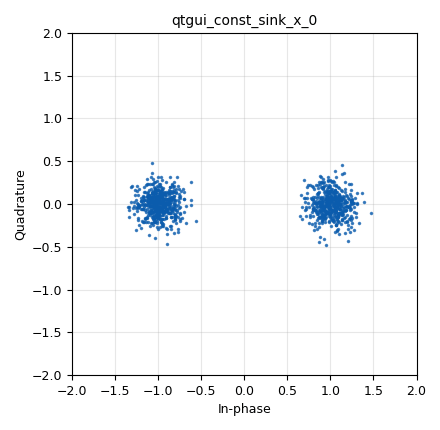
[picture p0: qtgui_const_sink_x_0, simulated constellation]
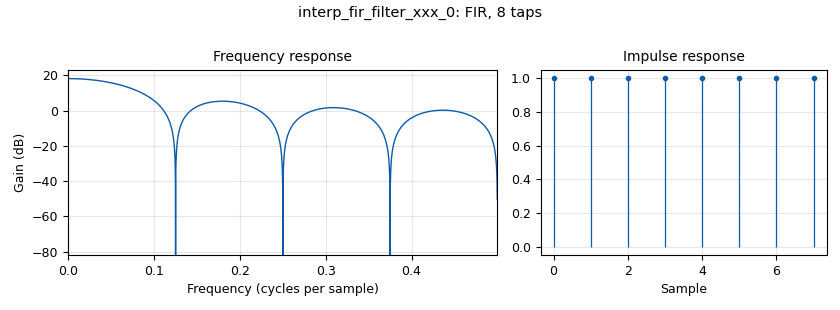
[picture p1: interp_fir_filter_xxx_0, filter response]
options:
  parameters:
    author: Carolay Castellanos, Dylan Villalba, Luis Rosas
    generate_options: qt_gui
    id: MZ
    output_language: python
    title: ej1
  states: {}

blocks:
- name: BW
  id: variable
  parameters:
    value: '16000'
  states: {}
- name: M
  id: variable
  parameters:
    value: len(tabla_de_verdad_constelacion )
  states: {}
- name: Nlob
  id: variable
  parameters:
    value: '8'
  states: {}
- name: Rb
  id: variable
  parameters:
    value: Rs*bps
  states: {}
- name: Rs
  id: variable
  parameters:
    value: '32000'
  states: {}
- name: Sps
  id: variable
  parameters:
    value: '8'
  states: {}
- name: bps
  id: variable
  parameters:
    value: int(math.log(M,2))
  states: {}
- name: h
  id: variable
  parameters:
    value: '[1]*Sps'
  states: {}
- name: samp_rate
  id: variable
  parameters:
    value: Rs*Sps
  states: {}
- name: tabla_de_verdad_constelacion
  id: variable
  parameters:
    value: digital.constellation_bpsk().points()
  states: {}
- name: variable_0
  id: variable
  parameters:
    value: '0'
  states: {}
- name: analog_noise_source_x_0
  id: analog_noise_source_x
  parameters:
    amp: '0.2'
    noise_type: analog.GR_GAUSSIAN
    seed: '0'
    type: complex
  states: {}
- name: analog_random_source_x_0
  id: analog_random_source_x
  parameters:
    max: '2'
    min: '0'
    num_samps: '1000'
    repeat: 'True'
    type: byte
  states: {}
- name: blocks_add_xx_0
  id: blocks_add_xx
  parameters:
    type: complex
  states: {}
- name: blocks_pack_k_bits_bb_0
  id: blocks_pack_k_bits_bb
  parameters:
    k: '8'
  states: {}
- name: blocks_packed_to_unpacked_xx_0
  id: blocks_packed_to_unpacked_xx
  parameters:
    bits_per_chunk: bps
    endianness: gr.GR_MSB_FIRST
    type: byte
  states: {}
- name: digital_chunks_to_symbols_xx_0
  id: digital_chunks_to_symbols_xx
  parameters:
    dimension: '1'
    in_type: byte
    out_type: complex
    symbol_table: tabla_de_verdad_constelacion
  states: {}
- name: import_0
  id: import
  parameters:
    imports: import math
  states: {}
- name: import_0_0
  id: import
  parameters:
    imports: from gnuradio import digital
  states: {}
- name: interp_fir_filter_xxx_0
  id: interp_fir_filter_xxx
  parameters:
    interp: Sps
    taps: h
    type: ccf
  states: {}
- name: qtgui_const_sink_x_0
  id: qtgui_const_sink_x
  parameters:
    size: '1024'
    type: complex
  states: {}
- name: qtgui_freq_sink_x_0
  id: qtgui_freq_sink_x
  parameters:
    average: '0.05'
    bw: samp_rate
    fc: '0'
    fftsize: '1024'
    type: complex
  states: {state: disabled}
- name: qtgui_time_sink_x_0
  id: qtgui_time_sink_x
  parameters:
    size: '1024'
    srate: samp_rate
    type: complex
  states: {state: disabled}
- name: virtual_sink_0
  id: virtual_sink
  parameters:
    stream_id: p1
  states: {}
- name: virtual_sink_0_0
  id: virtual_sink
  parameters:
    stream_id: p0
  states: {}
- name: virtual_source_0
  id: virtual_source
  parameters:
    stream_id: p1
  states: {}
- name: virtual_source_0_0
  id: virtual_source
  parameters:
    stream_id: p0
  states: {state: disabled}

connections:
- [analog_noise_source_x_0, '0', blocks_add_xx_0, '0']
- [analog_random_source_x_0, '0', blocks_pack_k_bits_bb_0, '0']
- [blocks_add_xx_0, '0', virtual_sink_0, '0']
- [blocks_pack_k_bits_bb_0, '0', blocks_packed_to_unpacked_xx_0, '0']
- [blocks_packed_to_unpacked_xx_0, '0', digital_chunks_to_symbols_xx_0, '0']
- [digital_chunks_to_symbols_xx_0, '0', interp_fir_filter_xxx_0, '0']
- [interp_fir_filter_xxx_0, '0', blocks_add_xx_0, '1']
- [interp_fir_filter_xxx_0, '0', virtual_sink_0_0, '0']
- [virtual_source_0, '0', qtgui_const_sink_x_0, '0']
- [virtual_source_0, '0', qtgui_time_sink_x_0, '0']
- [virtual_source_0_0, '0', qtgui_freq_sink_x_0, '0']

metadata:
  file_format: 1
